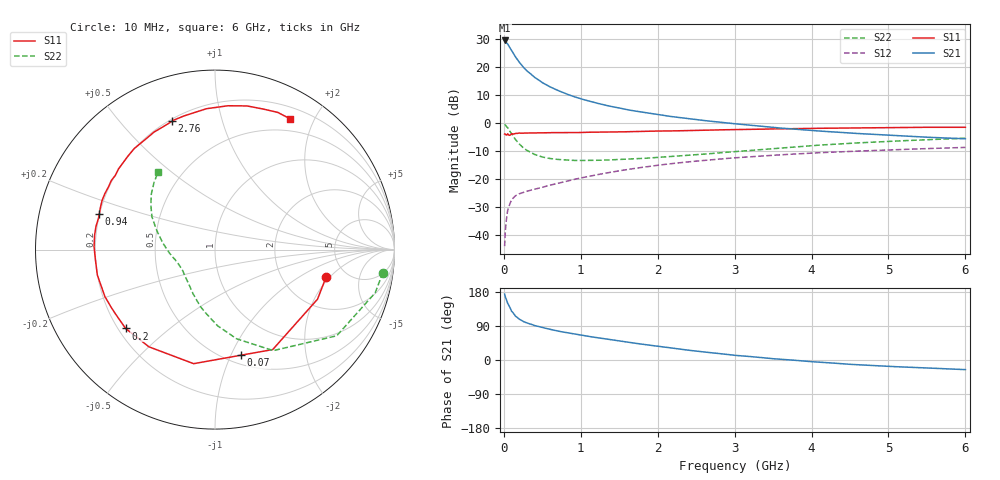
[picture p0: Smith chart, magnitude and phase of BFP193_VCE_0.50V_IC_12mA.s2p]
! Infineon Technologies  Discrete & RF Semiconductors
! BFP193
! VCE = 0.50V,  IC =  12 mA
! Common Emitter S-Parameters:  Jan 2016
# GHz  S  MA  R  50
!  f  S11  S21  S12  S22
! GHz  MAG  ANG  MAG  ANG  MAG  ANG  MAG  ANG
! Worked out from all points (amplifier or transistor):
!   210 points, 10 MHz to 6 GHz, reference 50 ohm
!   highest |S21| = 29.5 dB at 10 MHz (marker M1)
!   |S21| within 3 dB of that: start of sweep to 87.35 MHz
!   unconditionally stable (mu >= 1): 797.1 MHz to end of sweep
!   at 185 MHz: K = 0.38, MSG = 23.9 dB, |S12| = -25.5 dB
!   at 1.52 GHz: K = 1.14, MAG = 8.9 dB, |S12| = -17.0 dB
!   at 6 GHz: K = 1.02, MAG = 0.7 dB, |S12| = -8.7 dB
!   S11 on the Smith chart (normalised r, x): 10 MHz: 3.54, -1.80; 70 MHz: 0.59, -1.09; 200 MHz: 0.23, -0.36; 940 MHz: 0.20, +0.14; 2.76 GHz: 0.21, +0.70; 6 GHz: 0.34, +1.68
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0.01  0.6379 -13.7  29.98 173.9  0.0063 84.9  0.944 -7.8
0.02  0.6345 -25.8  29.02 166.2  0.012 76.9  0.9245 -15.1
0.05  0.6431 -60.0  25.98 149.3  0.0276 64.3  0.831 -35.3
0.07  0.6061 -76.1  23.25 142.4  0.0333 56.9  0.7428 -43.7
0.1  0.6466 -100.6  20 128.9  0.0425 49.7  0.6499 -60.0
0.15  0.6549 -124.2  15.31 116.0  0.05 41.6  0.5112 -76.4
0.2  0.664 -138.6  12.29 107.8  0.0544 38.4  0.4245 -88.1
0.26  0.6617 -150.8  9.765 101.0  0.0581 37.1  0.3552 -98.7
0.3  0.6669 -156.9  8.567 97.5  0.0604 36.9  0.3254 -104.8
0.4  0.6707 -167.8  6.572 90.9  0.0657 38.3  0.2751 -116.3
0.5  0.6687 -174.8  5.285 85.6  0.0711 39.9  0.2477 -124.7
0.6  0.6739 178.6  4.442 80.8  0.0775 41.7  0.2326 -131.8
0.7  0.6756 173.2  3.839 76.3  0.0833 43.0  0.2239 -137.5
0.94  0.6746 163.0  2.884 67.9  0.1002 45.1  0.2148 -147.0
1.02  0.6801 159.9  2.668 65.1  0.1057 45.4  0.2146 -149.4
1.4  0.6942 146.3  1.973 53.3  0.1326 45.4  0.2204 -159.4
2.02  0.7209 128.1  1.403 35.8  0.1775 41.2  0.2444 -172.0
2.76  0.7541 108.6  1.056 17.8  0.2248 33.7  0.2905 173.3
3.1  0.7669 101.2  0.944 10.8  0.2443 29.8  0.316 166.9
4.1  0.8068 83.3  0.721 -5.7  0.2951 18.7  0.4034 150.9
5.1  0.8298 69.9  0.597 -17.7  0.3343 8.1  0.4776 137.4
6  0.8404 60.1  0.523 -25.4  0.3671 -1.3  0.5361 126.2
